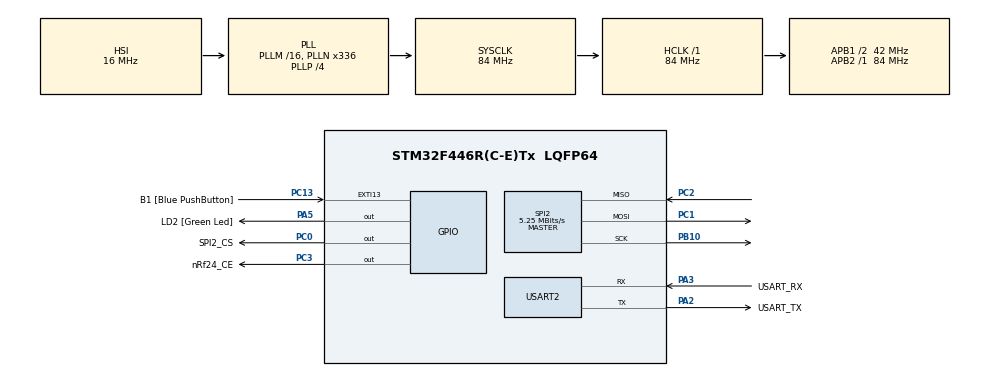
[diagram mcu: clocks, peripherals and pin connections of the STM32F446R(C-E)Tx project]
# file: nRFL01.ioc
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Mcu.Family=STM32F4
Mcu.Name=STM32F446R(C-E)Tx
Mcu.Package=LQFP64
NVIC.PriorityGroup=NVIC_PRIORITYGROUP_4
NVIC.TIM1_TRG_COM_TIM11_IRQn=true\:0\:0\:false\:false\:true\:true\:true\:true
NVIC.TIM6_DAC_IRQn=true\:0\:0\:false\:false\:true\:false\:true\:true
NVIC.TimeBase=TIM6_DAC_IRQn
NVIC.TimeBaseIP=TIM6
PA13.GPIO_Label=TMS
PA13.Mode=Serial_Wire
PA13.Signal=SYS_JTMS-SWDIO
PA14.GPIO_Label=TCK
PA14.Mode=Serial_Wire
PA14.Signal=SYS_JTCK-SWCLK
PA2.GPIO_Label=USART_TX
PA2.Mode=Asynchronous
PA2.Signal=USART2_TX
PA3.GPIO_Label=USART_RX
PA3.Mode=Asynchronous
PA3.Signal=USART2_RX
PA5.GPIO_Label=LD2 [Green Led]
PA5.Signal=GPIO_Output
PB10.Mode=Full_Duplex_Master
PB10.Signal=SPI2_SCK
PB3.GPIO_Label=SWO
PB3.Signal=SYS_JTDO-SWO
PC0.GPIO_Label=SPI2_CS
PC0.PinState=GPIO_PIN_SET
PC0.Signal=GPIO_Output
PC1.Mode=Full_Duplex_Master
PC1.Signal=SPI2_MOSI
PC13.GPIO_Label=B1 [Blue PushButton]
PC13.GPIO_ModeDefaultEXTI=GPIO_MODE_IT_FALLING
PC13.Signal=GPXTI13
PC14-OSC32_IN.Mode=LSE-External-Oscillator
PC14-OSC32_IN.Signal=RCC_OSC32_IN
PC15-OSC32_OUT.Mode=LSE-External-Oscillator
PC15-OSC32_OUT.Signal=RCC_OSC32_OUT
PC2.Mode=Full_Duplex_Master
PC2.Signal=SPI2_MISO
PC3.GPIO_Label=nRf24_CE
PC3.Signal=GPIO_Output
PH0-OSC_IN.Mode=HSE-External-Oscillator
PH0-OSC_IN.Signal=RCC_OSC_IN
PH1-OSC_OUT.Mode=HSE-External-Oscillator
PH1-OSC_OUT.Signal=RCC_OSC_OUT
ProjectManager.HeapSize=0x200
ProjectManager.StackSize=0x400
ProjectManager.TargetToolchain=Makefile
RCC.48MHZClocksFreq_Value=84000000
RCC.AHBFreq_Value=84000000
RCC.APB1CLKDivider=RCC_HCLK_DIV2
RCC.APB1Freq_Value=42000000
RCC.APB1TimFreq_Value=84000000
RCC.APB2Freq_Value=84000000
RCC.APB2TimFreq_Value=84000000
RCC.CortexFreq_Value=84000000
RCC.FLatency-AdvancedSettings=FLASH_LATENCY_2
RCC.HCLKFreq_Value=84000000
RCC.HSE_VALUE=8000000
RCC.HSI_VALUE=16000000
RCC.PLLN=336
RCC.PLLP=RCC_PLLP_DIV4
RCC.SYSCLKFreq_VALUE=84000000
RCC.SYSCLKSource=RCC_SYSCLKSOURCE_PLLCLK
RCC.USBFreq_Value=168000000
RCC.VCOOutputFreq_Value=336000000
SPI2.BaudRatePrescaler=SPI_BAUDRATEPRESCALER_8
SPI2.CalculateBaudRate=5.25 MBits/s
SPI2.Direction=SPI_DIRECTION_2LINES
SPI2.Mode=SPI_MODE_MASTER
SPI2.VirtualType=VM_MASTER
TIM11.Period=840
USART2.VirtualMode=VM_ASYNC
VP_SYS_VS_tim6.Mode=TIM6
VP_TIM11_VS_ClockSourceINT.Mode=Enable_Timer
board=NUCLEO-F446RE

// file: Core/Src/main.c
/* USER CODE BEGIN Header */
/**
  ******************************************************************************
  * @file           : main.c
  * @brief          : Main program body
  ******************************************************************************
  * @attention
  *
  * Copyright (c) 2023 STMicroelectronics.
  * All rights reserved.
  *
  * This software is licensed under terms that can be found in the LICENSE file
  * in the root directory of this software component.
  * If no LICENSE file comes with this software, it is provided AS-IS.
  *
  ******************************************************************************
  */
/* USER CODE END Header */
#include "main.h"

/* USER CODE BEGIN Includes */
#include "FreeRTOS.h"
#include "task.h"
#include <stdio.h>
/* USER CODE END Includes */

SPI_HandleTypeDef hspi2;

TIM_HandleTypeDef htim11;

UART_HandleTypeDef huart2;

void SystemClock_Config(void);
static void MX_GPIO_Init(void);
static void MX_SPI2_Init(void);
static void MX_USART2_UART_Init(void);
static void MX_TIM11_Init(void);
/* USER CODE BEGIN PFP */

static void task1_handler(void* parameters);
static void task2_handler(void* parameters);

/* USER CODE END PFP */

int main(void)
{
  /* USER CODE BEGIN 1 */

  TaskHandle_t task1_handle;
  TaskHandle_t task2_handle;

  /* USER CODE END 1 */

  /* MCU Configuration--------------------------------------------------------*/

  /* Reset of all peripherals, Initializes the Flash interface and the Systick. */
  HAL_Init();

  /* Configure the system clock */
  SystemClock_Config();

  /* Initialize all configured peripherals */
  MX_GPIO_Init();
  MX_SPI2_Init();
  MX_USART2_UART_Init();
  MX_TIM11_Init();
  /* USER CODE BEGIN 2 */

  // HAL_SPI_TransmitReceive(&hspi2, &tx_data, &rx_data, 1, 100);

  xTaskCreate(task1_handler, "Task-1", 400, "hello from task 1", 2, &task1_handle);

  xTaskCreate(task2_handler, "Task-2", 400, "hello from task 2", 2, &task2_handle);
  // configASSERT(status == pdFAIL);

  //Start scheduler
  vTaskStartScheduler();
  /* USER CODE END 2 */

  /* Infinite loop */
  while (1)
  {

  }
}

void SystemClock_Config(void)
{
  RCC_OscInitTypeDef RCC_OscInitStruct = {0};
  RCC_ClkInitTypeDef RCC_ClkInitStruct = {0};

  /** Configure the main internal regulator output voltage
  */
  __HAL_RCC_PWR_CLK_ENABLE();
  __HAL_PWR_VOLTAGESCALING_CONFIG(PWR_REGULATOR_VOLTAGE_SCALE3);

  /** Initializes the RCC Oscillators according to the specified parameters
  * in the RCC_OscInitTypeDef structure.
  */
  RCC_OscInitStruct.OscillatorType = RCC_OSCILLATORTYPE_HSI;
  RCC_OscInitStruct.HSIState = RCC_HSI_ON;
  RCC_OscInitStruct.HSICalibrationValue = RCC_HSICALIBRATION_DEFAULT;
  RCC_OscInitStruct.PLL.PLLState = RCC_PLL_ON;
  RCC_OscInitStruct.PLL.PLLSource = RCC_PLLSOURCE_HSI;
  RCC_OscInitStruct.PLL.PLLM = 16;
  RCC_OscInitStruct.PLL.PLLN = 336;
  RCC_OscInitStruct.PLL.PLLP = RCC_PLLP_DIV4;
  RCC_OscInitStruct.PLL.PLLQ = 2;
  RCC_OscInitStruct.PLL.PLLR = 2;
  if (HAL_RCC_OscConfig(&RCC_OscInitStruct) != HAL_OK)
  {
    Error_Handler();
  }

  /** Initializes the CPU, AHB and APB buses clocks
  */
  RCC_ClkInitStruct.ClockType = RCC_CLOCKTYPE_HCLK|RCC_CLOCKTYPE_SYSCLK
                              |RCC_CLOCKTYPE_PCLK1|RCC_CLOCKTYPE_PCLK2;
  RCC_ClkInitStruct.SYSCLKSource = RCC_SYSCLKSOURCE_PLLCLK;
  RCC_ClkInitStruct.AHBCLKDivider = RCC_SYSCLK_DIV1;
  RCC_ClkInitStruct.APB1CLKDivider = RCC_HCLK_DIV2;
  RCC_ClkInitStruct.APB2CLKDivider = RCC_HCLK_DIV1;

  if (HAL_RCC_ClockConfig(&RCC_ClkInitStruct, FLASH_LATENCY_2) != HAL_OK)
  {
    Error_Handler();
  }
}

static void MX_SPI2_Init(void)
{

  /* SPI2 parameter configuration*/
  hspi2.Instance = SPI2;
  hspi2.Init.Mode = SPI_MODE_MASTER;
  hspi2.Init.Direction = SPI_DIRECTION_2LINES;
  hspi2.Init.DataSize = SPI_DATASIZE_8BIT;
  hspi2.Init.CLKPolarity = SPI_POLARITY_LOW;
  hspi2.Init.CLKPhase = SPI_PHASE_1EDGE;
  hspi2.Init.NSS = SPI_NSS_SOFT;
  hspi2.Init.BaudRatePrescaler = SPI_BAUDRATEPRESCALER_8;
  hspi2.Init.FirstBit = SPI_FIRSTBIT_MSB;
  hspi2.Init.TIMode = SPI_TIMODE_DISABLE;
  hspi2.Init.CRCCalculation = SPI_CRCCALCULATION_DISABLE;
  hspi2.Init.CRCPolynomial = 10;
  if (HAL_SPI_Init(&hspi2) != HAL_OK)
  {
    Error_Handler();
  }

}

static void MX_TIM11_Init(void)
{

  htim11.Instance = TIM11;
  htim11.Init.Prescaler = 0;
  htim11.Init.CounterMode = TIM_COUNTERMODE_UP;
  htim11.Init.Period = 840;
  htim11.Init.ClockDivision = TIM_CLOCKDIVISION_DIV1;
  htim11.Init.AutoReloadPreload = TIM_AUTORELOAD_PRELOAD_DISABLE;
  if (HAL_TIM_Base_Init(&htim11) != HAL_OK)
  {
    Error_Handler();
  }

}

static void MX_USART2_UART_Init(void)
{

  huart2.Instance = USART2;
  huart2.Init.BaudRate = 115200;
  huart2.Init.WordLength = UART_WORDLENGTH_8B;
  huart2.Init.StopBits = UART_STOPBITS_1;
  huart2.Init.Parity = UART_PARITY_NONE;
  huart2.Init.Mode = UART_MODE_TX_RX;
  huart2.Init.HwFlowCtl = UART_HWCONTROL_NONE;
  huart2.Init.OverSampling = UART_OVERSAMPLING_16;
  if (HAL_UART_Init(&huart2) != HAL_OK)
  {
    Error_Handler();
  }

}

static void MX_GPIO_Init(void)
{
  GPIO_InitTypeDef GPIO_InitStruct = {0};

  /* GPIO Ports Clock Enable */
  __HAL_RCC_GPIOC_CLK_ENABLE();
  __HAL_RCC_GPIOH_CLK_ENABLE();
  __HAL_RCC_GPIOA_CLK_ENABLE();
  __HAL_RCC_GPIOB_CLK_ENABLE();

  /*Configure GPIO pin Output Level */
  HAL_GPIO_WritePin(SPI2_CS_GPIO_Port, SPI2_CS_Pin, GPIO_PIN_SET);

  /*Configure GPIO pin Output Level */
  HAL_GPIO_WritePin(nRf24_CE_GPIO_Port, nRf24_CE_Pin, GPIO_PIN_RESET);

  /*Configure GPIO pin Output Level */
  HAL_GPIO_WritePin(LD2_GPIO_Port, LD2_Pin, GPIO_PIN_RESET);

  /*Configure GPIO pin : B1_Pin */
  GPIO_InitStruct.Pin = B1_Pin;
  GPIO_InitStruct.Mode = GPIO_MODE_IT_FALLING;
  GPIO_InitStruct.Pull = GPIO_NOPULL;
  HAL_GPIO_Init(B1_GPIO_Port, &GPIO_InitStruct);

  /*Configure GPIO pins : SPI2_CS_Pin nRf24_CE_Pin */
  GPIO_InitStruct.Pin = SPI2_CS_Pin|nRf24_CE_Pin;
  GPIO_InitStruct.Mode = GPIO_MODE_OUTPUT_PP;
  GPIO_InitStruct.Pull = GPIO_NOPULL;
  GPIO_InitStruct.Speed = GPIO_SPEED_FREQ_LOW;
  HAL_GPIO_Init(GPIOC, &GPIO_InitStruct);

  /*Configure GPIO pin : LD2_Pin */
  GPIO_InitStruct.Pin = LD2_Pin;
  GPIO_InitStruct.Mode = GPIO_MODE_OUTPUT_PP;
  GPIO_InitStruct.Pull = GPIO_NOPULL;
  GPIO_InitStruct.Speed = GPIO_SPEED_FREQ_LOW;
  HAL_GPIO_Init(LD2_GPIO_Port, &GPIO_InitStruct);

}

/* USER CODE BEGIN 4 */
static void task1_handler(void* parameters){
  while(1){
      printf("Hello from task 1\n");
      HAL_GPIO_TogglePin(LD2_GPIO_Port, LD2_Pin);
      HAL_Delay(1000);
  }
}

static void task2_handler(void* parameters){
  while(1){
      printf("Hello from task 2\n");
      // HAL_GPIO_TogglePin(LD2_GPIO_Port, LD2_Pin);
      // HAL_Delay(200);
  }
}
/* USER CODE END 4 */

void HAL_TIM_PeriodElapsedCallback(TIM_HandleTypeDef *htim)
{
  if (htim->Instance == TIM6) {
    HAL_IncTick();
  }
}

void Error_Handler(void)
{
  __disable_irq();
  while (1)
  {
  }
}
